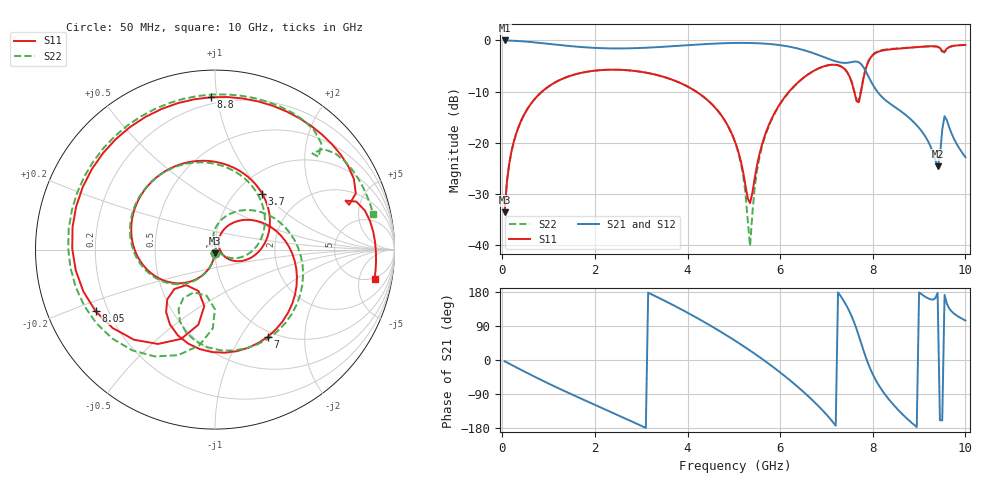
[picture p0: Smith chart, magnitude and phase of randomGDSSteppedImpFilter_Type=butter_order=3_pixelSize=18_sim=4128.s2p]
! freq	dB(S11)	phase(S11)	dB(S12)	phase(S12)
!  dB(S21)	phase(S21)	dB(S22)	phase(S22)
!S-par simulation data
#  GHz  S  DB  R 50
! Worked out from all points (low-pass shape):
!   200 points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, 50 MHz to 10 GHz, reference 50 ohm
!   highest |S21| = -0.01 dB at 50 MHz (marker M1); lowest = -24.6 dB at 9.4 GHz (marker M2)
!   |S21| within 3 dB of the highest: start of sweep to 6.871 GHz
!   lowest |S11| = -33.6 dB at 50 MHz (marker M3), VSWR 1.04, Z = 49.8 - j2.08 ohm
!   |S11| at or under -10 dB: start of sweep to 859.6 MHz; 4.186 GHz to 6.194 GHz (2.009 GHz wide, 38.7 % of centre); 7.599 GHz to 7.747 GHz (148 MHz wide, 1.93 % of centre)
!   |S22| runs from -40.2 to -0.9 dB; largest |S21 - S12| = 0
!   S11 on the Smith chart (normalised r, x): 50 MHz: 1.00, -0.04; 3.7 GHz: 1.30, +0.97; 7 GHz: 0.93, -1.33; 8.05 GHz: 0.15, -0.24; 8.8 GHz: 0.16, +0.96; 10 GHz: 4.67, -8.36
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0.05  -33.59 -93.2  -0.01 -3.3  -0.01 -3.3  -33.59 -93.1
0.2  -21.65 -103.3  -0.05 -12.9  -0.05 -12.9  -21.64 -103.0
0.5  -14.05 -122.9  -0.22 -31.9  -0.22 -31.9  -14.05 -121.9
1.75  -6.26 163.1  -1.32 -104.5  -1.32 -104.5  -6.26 166.7
3.4  -6.91 68.7  -1.29 162.8  -1.29 162.8  -6.90 77.0
3.7  -7.79 50.0  -1.12 144.2  -1.12 144.2  -7.78 59.2
4.45  -11.83 0.7  -0.68 93.9  -0.68 93.9  -11.82 11.2
5.05  -20.42 -34.7  -0.49 49.2  -0.49 49.2  -20.53 -29.2
5.35  -31.82 23.4  -0.50 25.0  -0.50 25.0  -40.23 39.3
5.7  -17.81 65.2  -0.64 -5.1  -0.64 -5.1  -18.08 87.8
6.25  -9.43 21.5  -1.31 -57.4  -1.31 -57.4  -9.48 38.0
6.7  -6.07 -23.9  -2.44 -106.3  -2.44 -106.3  -6.09 -10.2
7  -4.92 -58.6  -3.46 -144.0  -3.46 -144.0  -4.93 -46.3
7.35  -5.28 -106.0  -4.37 160.5  -4.37 160.5  -5.26 -94.4
7.6  -10.03 -135.9  -4.14 98.6  -4.14 98.6  -9.84 -123.1
7.8  -7.36 -102.5  -5.25 25.3  -5.25 25.3  -7.15 -91.6
8.05  -2.52 -152.6  -9.39 -49.7  -9.39 -49.7  -2.42 -139.0
8.35  -1.78 154.7  -12.21 -104.3  -12.21 -104.3  -1.69 172.0
8.8  -1.42 91.5  -15.25 -161.4  -15.25 -161.4  -1.39 113.3
9.4  -1.23 26.9  -24.61 177.1  -24.61 177.1  -1.27 50.4
9.55  -2.19 20.6  -14.81 172.0  -14.81 172.0  -2.36 44.6
10  -0.88 -10.4  -22.84 104.3  -22.84 104.3  -0.88 12.8
